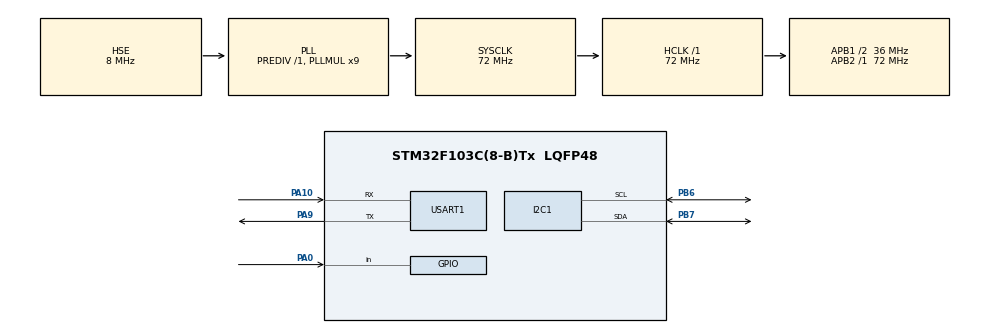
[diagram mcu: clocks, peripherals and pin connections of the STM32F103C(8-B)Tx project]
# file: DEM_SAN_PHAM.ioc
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Mcu.Family=STM32F1
Mcu.Name=STM32F103C(8-B)Tx
Mcu.Package=LQFP48
NVIC.PriorityGroup=NVIC_PRIORITYGROUP_4
NVIC.USART1_IRQn=true\:1\:0\:true\:false\:true\:true\:true\:true
PA0-WKUP.GPIO_Mode=GPIO_MODE_INPUT
PA0-WKUP.GPIO_PuPd=GPIO_PULLUP
PA0-WKUP.Signal=GPIO_Input
PA10.Mode=Asynchronous
PA10.Signal=USART1_RX
PA13.Mode=Serial_Wire
PA13.Signal=SYS_JTMS-SWDIO
PA14.Mode=Serial_Wire
PA14.Signal=SYS_JTCK-SWCLK
PA9.Mode=Asynchronous
PA9.Signal=USART1_TX
PB6.Mode=I2C
PB6.Signal=I2C1_SCL
PB7.Mode=I2C
PB7.Signal=I2C1_SDA
PD0-OSC_IN.Mode=HSE-External-Oscillator
PD0-OSC_IN.Signal=RCC_OSC_IN
PD1-OSC_OUT.Mode=HSE-External-Oscillator
PD1-OSC_OUT.Signal=RCC_OSC_OUT
ProjectManager.HeapSize=0x200
ProjectManager.StackSize=0x400
ProjectManager.TargetToolchain=MDK-ARM V5.32
RCC.AHBFreq_Value=72000000
RCC.APB1CLKDivider=RCC_HCLK_DIV2
RCC.APB1Freq_Value=36000000
RCC.APB1TimFreq_Value=72000000
RCC.APB2Freq_Value=72000000
RCC.APB2TimFreq_Value=72000000
RCC.HCLKFreq_Value=72000000
RCC.PLLMUL=RCC_PLL_MUL9
RCC.PLLSourceVirtual=RCC_PLLSOURCE_HSE
RCC.SYSCLKFreq_VALUE=72000000
RCC.SYSCLKSource=RCC_SYSCLKSOURCE_PLLCLK
RCC.USBFreq_Value=72000000
USART1.VirtualMode=VM_ASYNC
board=custom

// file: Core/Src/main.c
/* USER CODE BEGIN Header */
/**
  ******************************************************************************
  * @file           : main.c
  * @brief          : Main program body
  ******************************************************************************
  * @attention
  *
  * Copyright (c) 2022 STMicroelectronics.
  * All rights reserved.
  *
  * This software is licensed under terms that can be found in the LICENSE file
  * in the root directory of this software component.
  * If no LICENSE file comes with this software, it is provided AS-IS.
  *
  ******************************************************************************
  */
/* USER CODE END Header */
#include "main.h"

/* USER CODE BEGIN Includes */
#include "i2c-lcd.h"
#include "string.h"
#include "stdio.h"
/* USER CODE END Includes */

 I2C_HandleTypeDef hi2c1;

UART_HandleTypeDef huart1;

/* USER CODE BEGIN PV */
#define CamBien HAL_GPIO_ReadPin(GPIOA, GPIO_PIN_0)
/* USER CODE END PV */

void SystemClock_Config(void);
static void MX_GPIO_Init(void);
static void MX_I2C1_Init(void);
static void MX_USART1_UART_Init(void);

/* USER CODE BEGIN 0 */
unsigned char soluong = 0, so_thung = 0, soluong_Cd = 5;
unsigned char Receive;
unsigned char Buffer[17];
char Index = 0;
char finish = 0;
unsigned char str[2];
void TruyenChuoi(char *str);

void HAL_UART_RxCpltCallback(UART_HandleTypeDef *huart)
{
	if(huart->Instance == huart1.Instance)
	{
		if(Receive != '.')
		{
			Buffer[Index] = Receive - 48;
			Index++;
			if(Index>=16)
			{
				Index = 0;
			}
		}
		else
		{
			finish = 1;
			soluong_Cd = Buffer[0]*10 + Buffer[1];
		}
	}
}
void TruyenChuoi(char *str)
{
	int i = 0;
	while(str[i] != 0)
	{
		unsigned char Send = str[i];
		HAL_UART_Transmit(&huart1,&Send,1,1);
		i++;
	}
	HAL_UART_Transmit_IT(&huart1, &Receive, 1);
}

/* USER CODE END 0 */

int main(void)
{

  /* MCU Configuration--------------------------------------------------------*/

  /* Reset of all peripherals, Initializes the Flash interface and the Systick. */
  HAL_Init();

  /* Configure the system clock */
  SystemClock_Config();

  /* Initialize all configured peripherals */
  MX_GPIO_Init();
  MX_I2C1_Init();
  MX_USART1_UART_Init();
  /* USER CODE BEGIN 2 */
	lcd_init();
	lcd_clear();

	HAL_UART_Receive_IT(&huart1,&Receive, 1);

  /* USER CODE END 2 */

  /* Infinite loop */
  while (1)
  {

    /* USER CODE BEGIN 3 */
		lcd_send_cmd(0x80|0x00);
		lcd_send_string("SO LUONG: ");
		lcd_send_data((soluong/100) + 48);
		lcd_send_data((soluong%100)/10 + 48);
		lcd_send_data((soluong%100)%10 + 48);
		lcd_send_cmd(0x80|0x40);
		lcd_send_string("SLCD: ");
		lcd_send_data((soluong_Cd/10) + 48);
		lcd_send_data((soluong_Cd%10) + 48);
		lcd_send_string("; ST: ");
		lcd_send_data((so_thung/10) + 48);
		lcd_send_data((so_thung%10) + 48);

		if(CamBien == 0)
		{
			soluong++;
			if(soluong%soluong_Cd == 0)
			{
				so_thung++;
			}
			sprintf(str ,"%d,%d",soluong, so_thung);
			TruyenChuoi(str);

			lcd_send_cmd(0x80|0x00);
			lcd_send_string("SO LUONG: ");
			lcd_send_data((soluong/100) + 48);
			lcd_send_data((soluong%100)/10 + 48);
			lcd_send_data((soluong%100)%10 + 48);
			lcd_send_cmd(0x80|0x40);
			lcd_send_string("SLCD: ");
			lcd_send_data((soluong_Cd/10) + 48);
			lcd_send_data((soluong_Cd%10) + 48);
			lcd_send_string("; ST: ");
			lcd_send_data((so_thung/10) + 48);
			lcd_send_data((so_thung%10) + 48);
			while(CamBien == 0);
		}
		if(finish==1)
		{
			finish=0;
//			lcd_gotoxy(1,2);
//			//sprintf(str,"%s",Buffer);
//			sprintf(str,"DEM=%d",SoLuongCaiDat);
//			lcd_puts(str);

			for(char i=0;i<17;i++)
			{
				Buffer[i]=0;
			}
			Index=0;
		}
  }
  /* USER CODE END 3 */
}

void SystemClock_Config(void)
{
  RCC_OscInitTypeDef RCC_OscInitStruct = {0};
  RCC_ClkInitTypeDef RCC_ClkInitStruct = {0};

  /** Initializes the RCC Oscillators according to the specified parameters
  * in the RCC_OscInitTypeDef structure.
  */
  RCC_OscInitStruct.OscillatorType = RCC_OSCILLATORTYPE_HSE;
  RCC_OscInitStruct.HSEState = RCC_HSE_ON;
  RCC_OscInitStruct.HSEPredivValue = RCC_HSE_PREDIV_DIV1;
  RCC_OscInitStruct.HSIState = RCC_HSI_ON;
  RCC_OscInitStruct.PLL.PLLState = RCC_PLL_ON;
  RCC_OscInitStruct.PLL.PLLSource = RCC_PLLSOURCE_HSE;
  RCC_OscInitStruct.PLL.PLLMUL = RCC_PLL_MUL9;
  if (HAL_RCC_OscConfig(&RCC_OscInitStruct) != HAL_OK)
  {
    Error_Handler();
  }

  /** Initializes the CPU, AHB and APB buses clocks
  */
  RCC_ClkInitStruct.ClockType = RCC_CLOCKTYPE_HCLK|RCC_CLOCKTYPE_SYSCLK
                              |RCC_CLOCKTYPE_PCLK1|RCC_CLOCKTYPE_PCLK2;
  RCC_ClkInitStruct.SYSCLKSource = RCC_SYSCLKSOURCE_PLLCLK;
  RCC_ClkInitStruct.AHBCLKDivider = RCC_SYSCLK_DIV1;
  RCC_ClkInitStruct.APB1CLKDivider = RCC_HCLK_DIV2;
  RCC_ClkInitStruct.APB2CLKDivider = RCC_HCLK_DIV1;

  if (HAL_RCC_ClockConfig(&RCC_ClkInitStruct, FLASH_LATENCY_2) != HAL_OK)
  {
    Error_Handler();
  }
}

static void MX_I2C1_Init(void)
{

  hi2c1.Instance = I2C1;
  hi2c1.Init.ClockSpeed = 100000;
  hi2c1.Init.DutyCycle = I2C_DUTYCYCLE_2;
  hi2c1.Init.OwnAddress1 = 0;
  hi2c1.Init.AddressingMode = I2C_ADDRESSINGMODE_7BIT;
  hi2c1.Init.DualAddressMode = I2C_DUALADDRESS_DISABLE;
  hi2c1.Init.OwnAddress2 = 0;
  hi2c1.Init.GeneralCallMode = I2C_GENERALCALL_DISABLE;
  hi2c1.Init.NoStretchMode = I2C_NOSTRETCH_DISABLE;
  if (HAL_I2C_Init(&hi2c1) != HAL_OK)
  {
    Error_Handler();
  }

}

static void MX_USART1_UART_Init(void)
{

  huart1.Instance = USART1;
  huart1.Init.BaudRate = 115200;
  huart1.Init.WordLength = UART_WORDLENGTH_8B;
  huart1.Init.StopBits = UART_STOPBITS_1;
  huart1.Init.Parity = UART_PARITY_NONE;
  huart1.Init.Mode = UART_MODE_TX_RX;
  huart1.Init.HwFlowCtl = UART_HWCONTROL_NONE;
  huart1.Init.OverSampling = UART_OVERSAMPLING_16;
  if (HAL_UART_Init(&huart1) != HAL_OK)
  {
    Error_Handler();
  }

}

static void MX_GPIO_Init(void)
{
  GPIO_InitTypeDef GPIO_InitStruct = {0};

  /* GPIO Ports Clock Enable */
  __HAL_RCC_GPIOD_CLK_ENABLE();
  __HAL_RCC_GPIOA_CLK_ENABLE();
  __HAL_RCC_GPIOB_CLK_ENABLE();

  /*Configure GPIO pin : PA0 */
  GPIO_InitStruct.Pin = GPIO_PIN_0;
  GPIO_InitStruct.Mode = GPIO_MODE_INPUT;
  GPIO_InitStruct.Pull = GPIO_PULLUP;
  HAL_GPIO_Init(GPIOA, &GPIO_InitStruct);

}

void Error_Handler(void)
{
  __disable_irq();
  while (1)
  {
  }
}
